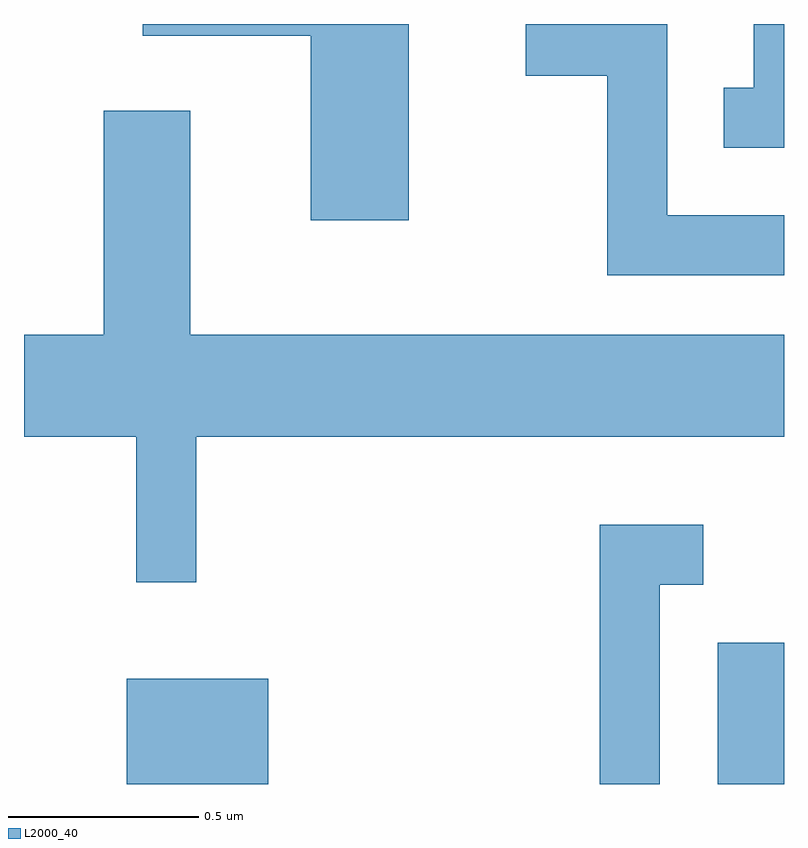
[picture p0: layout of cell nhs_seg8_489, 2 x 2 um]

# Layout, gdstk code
import gdstk
lib = gdstk.Library(unit=1e-6, precision=1e-09)
def R(c, l, rs):  # rectangles x0, y0, x1, y1
    for r in rs: c.add(gdstk.rectangle(r[:2], r[2:], *l))
def P(c, l, *ps):  # polygons
    for p in ps: c.add(gdstk.Polygon(p, *l))
L2000_40 = (2000, 40)

nhs_seg8_489 = lib.new_cell('nhs_seg8_489')
R(nhs_seg8_489, L2000_40, [(188.881,1884.342,189.254,1884.619), (190.436,1884.342,190.611,1884.714)])
P(nhs_seg8_489, L2000_40, [(190.611,1885.839),(190.304,1885.839),(190.304,1886.342),(189.931,1886.342),(189.931,1886.206),(190.146,1886.206),(190.146,1885.681),(190.611,1885.681)],
  [(189.624,1886.342),(188.923,1886.342),(188.923,1886.311),(189.366,1886.311),(189.366,1885.826),(189.624,1885.826)],
  [(190.611,1886.342),(190.531,1886.342),(190.531,1886.174),(190.453,1886.174),(190.453,1886.016),(190.611,1886.016)],
  [(189.064,1885.256),(190.611,1885.256),(190.611,1885.524),(189.049,1885.524),(189.049,1886.114),(188.821,1886.114),(188.821,1885.524),(188.611,1885.524),(188.611,1885.256),(188.906,1885.256),(188.906,1884.873),(189.064,1884.873)],
  [(190.284,1884.866),(190.398,1884.866),(190.398,1885.024),(190.126,1885.024),(190.126,1884.342),(190.284,1884.342)])

lib.write_gds('nhs_seg8_489.gds')
